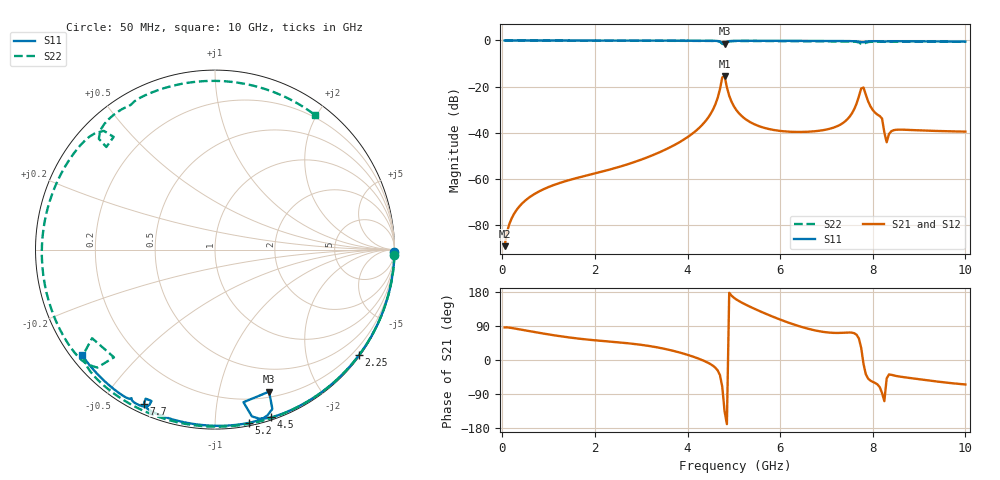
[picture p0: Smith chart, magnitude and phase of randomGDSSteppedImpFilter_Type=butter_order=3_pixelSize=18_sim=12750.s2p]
! freq	dB(S11)	phase(S11)	dB(S12)	phase(S12)
!  dB(S21)	phase(S21)	dB(S22)	phase(S22)
!S-par simulation data
#  GHz  S  DB  R 50
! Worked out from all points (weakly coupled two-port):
!   200 points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, 50 MHz to 10 GHz, reference 50 ohm
!   highest |S21| = -15.48 dB at 4.8 GHz (marker M1); lowest = -89.3 dB at 50 MHz (marker M2)
!   lowest |S11| = -1.4 dB at 4.8 GHz (marker M3), VSWR 12.06, Z = 12.7 - j71 ohm
!   |S11| at or under -10 dB: nowhere
!   |S22| runs from -1.7 to 0.0 dB; largest |S21 - S12| = 0
!   S11 on the Smith chart (normalised r, x): 50 MHz: open; 2.25 GHz: 0.03, -3.05; 4.5 GHz: 0.02, -1.39; 5.2 GHz: 0.02, -1.22; 7.7 GHz: 0.04, -0.64; 10 GHz: 0.03, -0.35
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0.05  -0.00 -0.8  -89.31 85.9  -89.31 85.9  -0.00 -1.6
0.7  -0.01 -11.5  -66.60 73.7  -66.60 73.7  -0.02 -22.0
1.75  -0.04 -28.4  -58.98 55.1  -58.98 55.1  -0.07 -53.9
2.25  -0.05 -36.3  -56.42 49.3  -56.42 49.3  -0.09 -68.6
3.4  -0.07 -54.1  -48.50 32.1  -48.50 32.1  -0.13 -101.3
4.5  -0.13 -71.5  -31.81 -11.2  -31.81 -11.2  -0.21 -132.5
4.75  -1.26 -79.4  -16.03 -70.5  -16.03 -70.5  -1.47 -144.2
4.8  -1.44 -69.2  -15.48 -135.5  -15.48 -135.5  -1.69 -133.2
4.9  -0.28 -72.4  -24.00 177.3  -24.00 177.3  -0.39 -137.9
5.05  -0.16 -76.2  -30.10 160.1  -30.10 160.1  -0.26 -143.9
5.2  -0.14 -78.8  -33.34 149.6  -33.34 149.6  -0.25 -148.6
5.8  -0.15 -87.7  -38.63 116.4  -38.63 116.4  -0.27 -165.7
6.7  -0.20 -100.1  -39.49 79.6  -39.49 79.6  -0.35 168.1
7.4  -0.26 -109.6  -35.16 72.1  -35.16 72.1  -0.43 145.8
7.7  -0.49 -114.8  -24.30 56.8  -24.30 56.8  -0.86 133.1
7.8  -0.78 -112.8  -20.44 -10.3  -20.44 -10.3  -1.59 136.6
7.95  -0.34 -115.0  -28.61 -54.5  -28.61 -54.5  -0.61 131.4
8.2  -0.39 -119.2  -33.90 -87.1  -33.90 -87.1  -0.59 121.5
8.3  -0.39 -119.6  -44.20 -48.7  -44.20 -48.7  -0.53 118.4
8.35  -0.35 -120.4  -40.64 -38.1  -40.64 -38.1  -0.51 116.5
9.2  -0.40 -131.6  -39.17 -53.9  -39.17 -53.9  -0.55 84.5
10  -0.49 -141.8  -39.57 -64.5  -39.57 -64.5  -0.59 53.6
